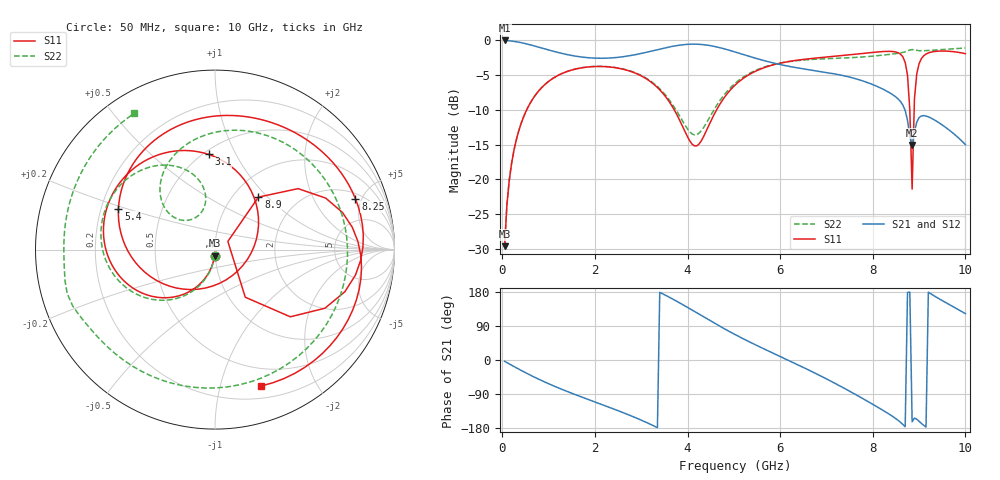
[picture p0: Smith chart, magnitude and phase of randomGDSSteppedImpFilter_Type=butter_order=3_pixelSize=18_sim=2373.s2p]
! freq	dB(S11)	phase(S11)	dB(S12)	phase(S12)
!  dB(S21)	phase(S21)	dB(S22)	phase(S22)
!S-par simulation data
#  GHz  S  DB  R 50
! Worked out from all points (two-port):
!   200 points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, 50 MHz to 10 GHz, reference 50 ohm
!   highest |S21| = -0.01 dB at 50 MHz (marker M1); lowest = -15.0 dB at 8.85 GHz (marker M2)
!   |S21| within 3 dB of the highest: start of sweep to 5.707 GHz
!   lowest |S11| = -29.6 dB at 50 MHz (marker M3), VSWR 1.07, Z = 49.7 - j3.27 ohm
!   |S11| at or under -10 dB: start of sweep to 527.5 MHz; 3.712 GHz to 4.628 GHz (915.7 MHz wide, 22 % of centre); 8.799 GHz to 8.894 GHz (94.42 MHz wide, 1.07 % of centre)
!   |S22| runs from -29.6 to -1.1 dB; largest |S21 - S12| = 0
!   S11 on the Smith chart (normalised r, x): 50 MHz: 0.99, -0.07; 3.1 GHz: 0.53, +0.78; 5.4 GHz: 0.27, +0.19; 8.25 GHz: 2.42, +4.45; 8.9 GHz: 1.30, +0.89; 10 GHz: 0.31, -1.34
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0.05  -29.63 -93.7  -0.01 -3.5  -0.01 -3.5  -29.63 -93.5
0.2  -17.75 -104.6  -0.09 -13.7  -0.09 -13.7  -17.75 -103.8
0.5  -10.39 -124.9  -0.46 -33.4  -0.46 -33.4  -10.38 -122.9
1.75  -3.91 166.2  -2.42 -99.4  -2.42 -99.4  -3.90 174.2
3.1  -5.49 93.9  -1.73 -164.1  -1.73 -164.1  -5.41 118.7
3.4  -7.12 71.6  -1.25 178.6  -1.25 178.6  -6.97 107.4
4.2  -15.19 -56.6  -0.55 124.5  -0.55 124.5  -13.58 124.8
5.05  -6.29 -178.9  -1.72 65.7  -1.72 65.7  -6.05 126.7
5.4  -4.66 157.0  -2.43 44.1  -2.43 44.1  -4.53 108.7
6.05  -3.21 121.3  -3.55 6.4  -3.55 6.4  -3.20 70.4
6.7  -2.59 91.4  -4.31 -31.5  -4.31 -31.5  -2.74 25.2
7.4  -2.15 61.6  -5.13 -75.7  -5.13 -75.7  -2.53 -33.6
7.85  -1.83 41.3  -5.99 -106.3  -5.99 -106.3  -2.35 -75.4
8.25  -1.60 19.9  -7.12 -135.0  -7.12 -135.0  -2.10 -112.2
8.35  -1.58 13.2  -7.49 -142.6  -7.49 -142.6  -2.03 -121.1
8.6  -1.99 -10.3  -8.81 -164.5  -8.81 -164.5  -1.80 -142.1
8.75  -5.00 -41.8  -11.49 178.3  -11.49 178.3  -1.52 -154.1
8.85  -21.42 32.6  -15.04 -163.0  -15.04 -163.0  -1.32 -163.5
8.9  -8.42 50.4  -13.20 -153.1  -13.20 -153.1  -1.37 -168.1
9.05  -2.62 16.2  -10.88 -167.3  -10.88 -167.3  -1.49 -179.3
9.25  -1.70 -6.7  -11.16 174.9  -11.16 174.9  -1.43 166.9
10  -1.91 -71.4  -15.00 122.4  -15.00 122.4  -1.09 120.7
